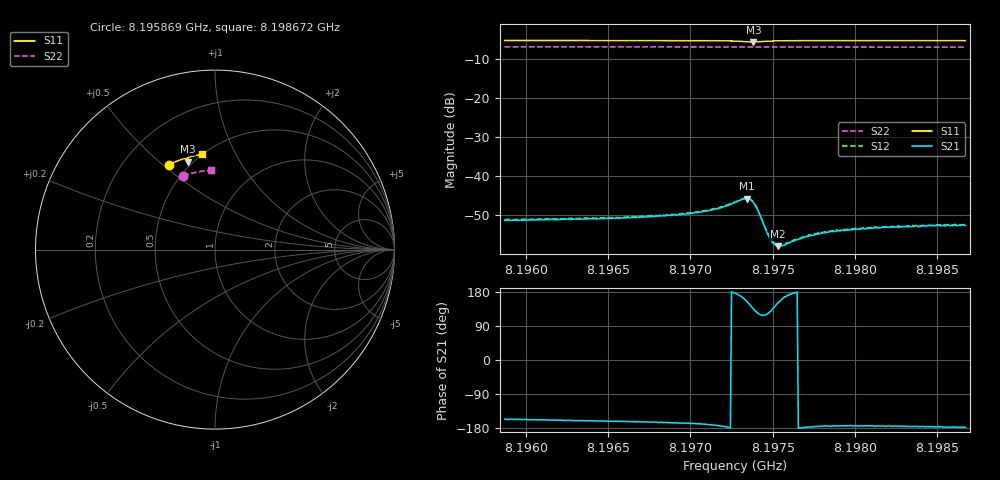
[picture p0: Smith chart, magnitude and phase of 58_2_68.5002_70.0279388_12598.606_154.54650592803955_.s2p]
#  HZ  S  RI  R  50.00
! Rohde & Schwarz Vector Network Analyzer
! Rohde-Schwarz,ZNB20-2Port,1311601062101988,3.16
! Created: UTC 3/20/2024, 4:51:07 PM
! freq[Hz]  re:S11  im:S11  re:S21  im:S21  re:S12  im:S12  re:S22  im:S22
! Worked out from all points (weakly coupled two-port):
!   401 points, 8.195869 GHz to 8.198672 GHz, reference 50 ohm
!   highest |S21| = -45.72 dB at 8.197341 GHz (marker M1); lowest = -57.9 dB at 8.19753 GHz (marker M2)
!   lowest |S11| = -5.8 dB at 8.197383 GHz (marker M3), VSWR 3.10, Z = 23.6 + j31.2 ohm
!   |S11| at or under -10 dB: nowhere
!   |S22| runs from -7.1 to -7.0 dB; largest |S21 - S12| = 0.00027
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8.1958692e9  -0.255 0.4729  -0.00248 -0.00111  -0.00259 -0.00102  -0.1759 0.41
8.1963388e9  -0.2246 0.4877  -0.00264 -0.000969  -0.00276 -0.000892  -0.151 0.4188
8.196563e9  -0.2096 0.4939  -0.00275 -0.000901  -0.00284 -0.000817  -0.1392 0.4227
8.1968083e9  -0.1926 0.5003  -0.00298 -0.000801  -0.00304 -0.000697  -0.1257 0.4264
8.1969765e9  -0.18 0.5042  -0.00321 -0.000739  -0.00332 -0.000661  -0.1166 0.4286
8.1970816e9  -0.1715 0.5063  -0.00349 -0.000659  -0.00356 -0.000509  -0.1108 0.43
8.1971797e9  -0.1623 0.5074  -0.0039 -0.000435  -0.00399 -0.000253  -0.1052 0.431
8.1972708e9  -0.1517 0.5053  -0.0046 0.000273  -0.00464 0.000505  -0.1002 0.432
8.1973409e9  -0.146 0.4956  -0.00471 0.00214  -0.00467 0.00236  -0.0964 0.4326
8.1973619e9  -0.1477 0.4913  -0.00416 0.00284  -0.00409 0.00305  -0.0954 0.4325
8.1973829e9  -0.1519 0.489  -0.00324 0.00324  -0.00315 0.00344  -0.0945 0.4327
8.197411e9  -0.158 0.4907  -0.00199 0.00303  -0.00185 0.00317  -0.093 0.4331
8.197467e9  -0.1606 0.5005  -0.000984 0.00158  -0.000957 0.00167  -0.0901 0.4339
8.1974881e9  -0.1594 0.5035  -0.000983 0.00123  -0.000951 0.00127  -0.0888 0.4342
8.1975091e9  -0.1577 0.5058  -0.00104 0.00091  -0.00104 0.000949  -0.0877 0.4345
8.1975301e9  -0.1557 0.5078  -0.00111 0.000629  -0.00108 0.000713  -0.0865 0.4347
8.1975721e9  -0.1521 0.5108  -0.00127 0.000296  -0.00131 0.000377  -0.0841 0.4352
8.1976492e9  -0.1453 0.5142  -0.00156 2.99e-05  -0.00155 7.88e-05  -0.0798 0.4358
8.1977403e9  -0.1378 0.5169  -0.00176 -9.99e-05  -0.00181 -5.9e-05  -0.0748 0.4366
8.1978735e9  -0.1274 0.5199  -0.00195 -0.000195  -0.00199 -0.000136  -0.0672 0.4375
8.1982099e9  -0.1029 0.5252  -0.00222 -0.000239  -0.00227 -0.000113  -0.0484 0.4395
8.1986724e9  -0.0698 0.5302  -0.00234 -0.000104  -0.0024 -1.73e-05  -0.0223 0.4407
